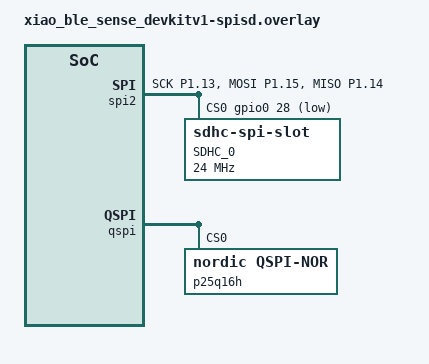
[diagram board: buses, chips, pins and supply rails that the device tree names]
&spi2 {
    status = "okay";
    pinctrl-0 = <&custom_spi>;
    pinctrl-1 = <&custom_spi>;
    pinctrl-names = "default", "sleep";
    cs-gpios = <&gpio0 28 GPIO_ACTIVE_LOW>;  // CS pin on P0.28
    sdhc0: sdhc@0 {
        compatible = "zephyr,sdhc-spi-slot";
        reg = <0>;
        status = "okay";
        label = "SDHC_0";
        mmc {
            compatible = "zephyr,sdmmc-disk";
            status = "okay";
        };
        spi-max-frequency = <24000000>;  // 24 MHz SPI speed for SD card
    };
};
&pinctrl {
    custom_spi: custom_spi {
        group1 {
            psels = <NRF_PSEL(SPIM_SCK, 1, 13)>,  // SCK on P1.13
                    <NRF_PSEL(SPIM_MOSI, 1, 15)>, // MOSI on P1.15
                    <NRF_PSEL(SPIM_MISO, 1, 14)>; // MISO on P1.14
        };
    };
};

&uart0 {
    status = "disabled";
};

&qspi {
	status = "okay";
	pinctrl-0 = <&qspi_default>;
	pinctrl-1 = <&qspi_default>;
	pinctrl-names = "default", "sleep";
	p25q16h: p25q16h@0 {
		compatible = "nordic,qspi-nor";
		reg = <0>;
		sck-frequency = <104000000>;
		quad-enable-requirements = "S2B1v1";
		jedec-id = [85 60 15];
		sfdp-bfp = [
			e5 20 f1 ff  ff ff ff 00  44 eb 08 6b  08 3b 80 bb
			ee ff ff ff  ff ff 00 ff  ff ff 00 ff  0c 20 0f 52
			10 d8 08 81
		];
		size = <16777216>;
		has-dpd;
		t-enter-dpd = <3000>;
		t-exit-dpd = <8000>;
	};
};
